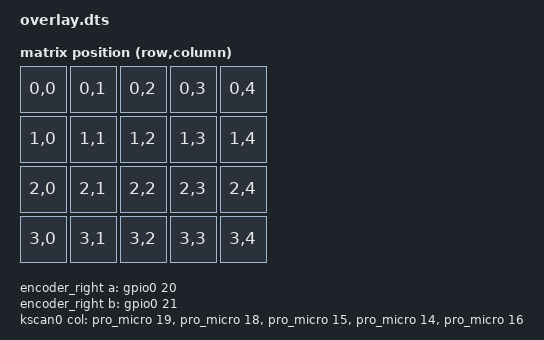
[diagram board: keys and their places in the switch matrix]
/*
 * sofle_right.overlay
 *
 * Sofle Choc RGB - Lado Direito
 * Hardware: nice!nano v2 / SuperMini NRF52840
 *
 * Inclui:
 * - Display OLED SSD1306 via I2C0
 * - Encoder/Potenciômetro (right side)
 * - Matrix transform (5 colunas direita)
 */

#include <dt-bindings/zmk/matrix_transform.h>

&pinctrl {
    /* I2C0 para display OLED */
    i2c0_default: i2c0_default {
        group1 {
            psels = <NRF_PSEL(TWIM_SDA, 0, 24)>,
                    <NRF_PSEL(TWIM_SCL, 0, 4)>;
        };
    };

    i2c0_sleep: i2c0_sleep {
        group1 {
            psels = <NRF_PSEL(TWIM_SDA, 0, 24)>,
                    <NRF_PSEL(TWIM_SCL, 0, 4)>;
            low-power-enable;
        };
    };

    /* GPIO para encoder (A e B) */
    encoder_pinctrl: encoder_pinctrl {
        group1 {
            psels = <NRF_PSEL(GPIO, 0, 20)>,  /* Encoder A */
                    <NRF_PSEL(GPIO, 0, 21)>;  /* Encoder B */
        };
    };
};

/* ──────────────────────────────────────────────────────
   I2C0 - Display OLED SSD1306
   ────────────────────────────────────────────────────── */
&i2c0 {
    compatible = "nordic,nrf-twim";
    status = "okay";
    pinctrl-0 = <&i2c0_default>;
    pinctrl-1 = <&i2c0_sleep>;
    pinctrl-names = "default", "sleep";
    clock-frequency = <100000>;

    display0: ssd1306@3c {
        compatible = "solomon,ssd1306";
        reg = <0x3c>;
        label = "SSD1306_0";
        width = <128>;
        height = <32>;
        segment-offset = <0>;
        com-inverted;
        page-offset = <0>;
        display-offset = <0>;
        multiplex-ratio = <31>;
        segment-remap;
        com-sequential;
        prechargep = <0x22>;
        status = "okay";
    };
};

/* ──────────────────────────────────────────────────────
   ENCODER / POTENCIÔMETRO (Direita)
   ────────────────────────────────────────────────────── */
/ {
    /* GPIO pins para o encoder */
    encoder_right {
        compatible = "zmk,rotary-encoder-sensor";
        label = "RIGHT_ENCODER";
        a-gpios = <&gpio0 20 (GPIO_PULL_UP | GPIO_ACTIVE_LOW)>;
        b-gpios = <&gpio0 21 (GPIO_PULL_UP | GPIO_ACTIVE_LOW)>;
        steps = <20>;
        status = "okay";
    };

    sensors {
        compatible = "zmk,keymap-sensors";
        sensors = <&encoder_right>;
    };

    chosen {
        zephyr,display = &display0;
    };
};

/* ──────────────────────────────────────────────────────
   MATRIX TRANSFORM - Sofle Choc (5 colunas direita)
   ────────────────────────────────────────────────────── */
&kscan0 {
    col-gpios
        = <&pro_micro 19 GPIO_ACTIVE_HIGH>
        , <&pro_micro 18 GPIO_ACTIVE_HIGH>
        , <&pro_micro 15 GPIO_ACTIVE_HIGH>
        , <&pro_micro 14 GPIO_ACTIVE_HIGH>
        , <&pro_micro 16 GPIO_ACTIVE_HIGH>
        ;
};

/ {
    chosen {
        zmk,kscan = &kscan0;
        zmk,matrix-transform = &default_transform;
    };

    default_transform: keymap_transform_0 {
        compatible = "zmk,matrix-transform";
        columns = <5>;
        rows = <4>;
        map = <
            RC(0,0) RC(0,1) RC(0,2) RC(0,3) RC(0,4)
            RC(1,0) RC(1,1) RC(1,2) RC(1,3) RC(1,4)
            RC(2,0) RC(2,1) RC(2,2) RC(2,3) RC(2,4)
            RC(3,0) RC(3,1) RC(3,2) RC(3,3) RC(3,4)
        >;
    };
};
